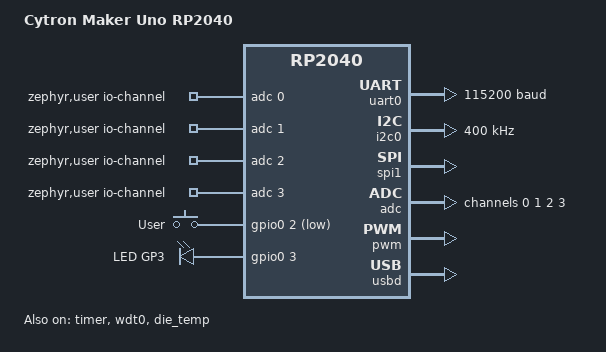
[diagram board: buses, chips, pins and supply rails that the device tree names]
/*
 * Copyright (c) 2021 Yonatan Schachter
 * Copyright (c) 2022 Peter Johanson
 * Copyright (c) 2025 Jonas Berg
 *
 * SPDX-License-Identifier: Apache-2.0
 */

/dts-v1/;

#include <raspberrypi/rpi_pico/rp2040.dtsi>
#include <zephyr/dt-bindings/pinctrl/rpi-pico-rp2040-pinctrl.h>
#include <zephyr/dt-bindings/input/input-event-codes.h>
#include <zephyr/dt-bindings/led/led.h>
#include "arduino_r3_connector.dtsi"
#include "grove_connectors.dtsi"
#include "maker_uno_rp2040-pinctrl.dtsi"

/ {
	model = "Cytron Maker Uno RP2040";
	compatible = "cytron,maker_uno_rp2040";

	chosen {
		zephyr,sram = &sram0;
		zephyr,flash = &flash0;
		zephyr,flash-controller = &ssi;
		zephyr,console = &uart0;
		zephyr,shell-uart = &uart0;
		zephyr,code-partition = &code_partition;
	};

	aliases {
		led0 = &led_gp3;
		led-strip = &ws2812;
		sw0 = &user_button;
		watchdog0 = &wdt0;
	};

	zephyr,user {
		io-channels = <&adc 0>, <&adc 1>, <&adc 2>, <&adc 3>;
	};

	gpio_keys {
		compatible = "gpio-keys";

		user_button: button {
			label = "User";
			gpios = <&gpio0 2 (GPIO_ACTIVE_LOW | GPIO_PULL_UP)>;
			zephyr,code = <INPUT_KEY_0>;
		};
	};

	leds {
		compatible = "gpio-leds";

		led_gp3: led_gp3 {
			gpios = <&gpio0 3 GPIO_ACTIVE_HIGH>;
			label = "LED GP3";
		};
	};
};

&flash0 {
	reg = <0x10000000 DT_SIZE_M(2)>;
	ranges = <0x0 0x10000000 DT_SIZE_M(2)>;

	partitions {
		compatible = "fixed-partitions";
		#address-cells = <1>;
		#size-cells = <1>;
		ranges;

		/* Reserved memory for the second stage bootloader */
		second_stage_bootloader: partition@0 {
			label = "second_stage_bootloader";
			reg = <0x00000000 0x100>;
			read-only;
		};

		/*
		 * Usable flash. Starts at 0x100, after the bootloader. The partition
		 * size is 2 MB minus the 0x100 bytes taken by the bootloader.
		 */
		code_partition: partition@100 {
			label = "code-partition";
			reg = <0x100 (DT_SIZE_M(2) - 0x100)>;
			read-only;
		};
	};
};

&gpio0 {
	status = "okay";
};

&uart0 {
	current-speed = <115200>;
	status = "okay";
	pinctrl-0 = <&uart0_default>;
	pinctrl-names = "default";
};

zephyr_i2c: &i2c0 {
	status = "okay";
	pinctrl-0 = <&i2c0_default>;
	pinctrl-names = "default";
	clock-frequency = <I2C_BITRATE_FAST>;
};

&spi1 {
	pinctrl-0 = <&spi1_default>;
	pinctrl-names = "default";
	status = "okay";
};

&timer {
	status = "okay";
};

&wdt0 {
	status = "okay";
};

&adc {
	status = "okay";
	pinctrl-0 = <&adc_default>;
	pinctrl-names = "default";
	#address-cells = <1>;
	#size-cells = <0>;

	channel@0 {
		reg = <0>;
		zephyr,gain = "ADC_GAIN_1";
		zephyr,reference = "ADC_REF_INTERNAL";
		zephyr,acquisition-time = <ADC_ACQ_TIME_DEFAULT>;
		zephyr,resolution = <12>;
	};

	channel@1 {
		reg = <1>;
		zephyr,gain = "ADC_GAIN_1";
		zephyr,reference = "ADC_REF_INTERNAL";
		zephyr,acquisition-time = <ADC_ACQ_TIME_DEFAULT>;
		zephyr,resolution = <12>;
	};

	channel@2 {
		reg = <2>;
		zephyr,gain = "ADC_GAIN_1";
		zephyr,reference = "ADC_REF_INTERNAL";
		zephyr,acquisition-time = <ADC_ACQ_TIME_DEFAULT>;
		zephyr,resolution = <12>;
	};

	channel@3 {
		reg = <3>;
		zephyr,gain = "ADC_GAIN_1";
		zephyr,reference = "ADC_REF_INTERNAL";
		zephyr,acquisition-time = <ADC_ACQ_TIME_DEFAULT>;
		zephyr,resolution = <12>;
	};
};

&pwm {
	pinctrl-0 = <&pwm_default>;
	pinctrl-names = "default";
	status = "okay";
};

&pio0 {
	status = "okay";

	pio-ws2812 {
		compatible = "worldsemi,ws2812-rpi_pico-pio";
		status = "okay";
		pinctrl-0 = <&ws2812_pio0_default>;
		pinctrl-names = "default";
		bit-waveform = <3>, <3>, <4>;

		ws2812: ws2812 {
			status = "okay";
			gpios = <&gpio0 25 GPIO_ACTIVE_HIGH>;
			chain-length = <2>;
			color-mapping = <LED_COLOR_ID_GREEN
					 LED_COLOR_ID_RED
					 LED_COLOR_ID_BLUE>;
			reset-delay = <280>;
			frequency = <800000>;
		};
	};
};

zephyr_udc0: &usbd {
	status = "okay";
};

&die_temp {
	status = "okay";
};

&vreg {
	regulator-always-on;
	regulator-allowed-modes = <REGULATOR_RPI_PICO_MODE_NORMAL>;
};

&xosc {
	startup-delay-multiplier = <64>;
};
